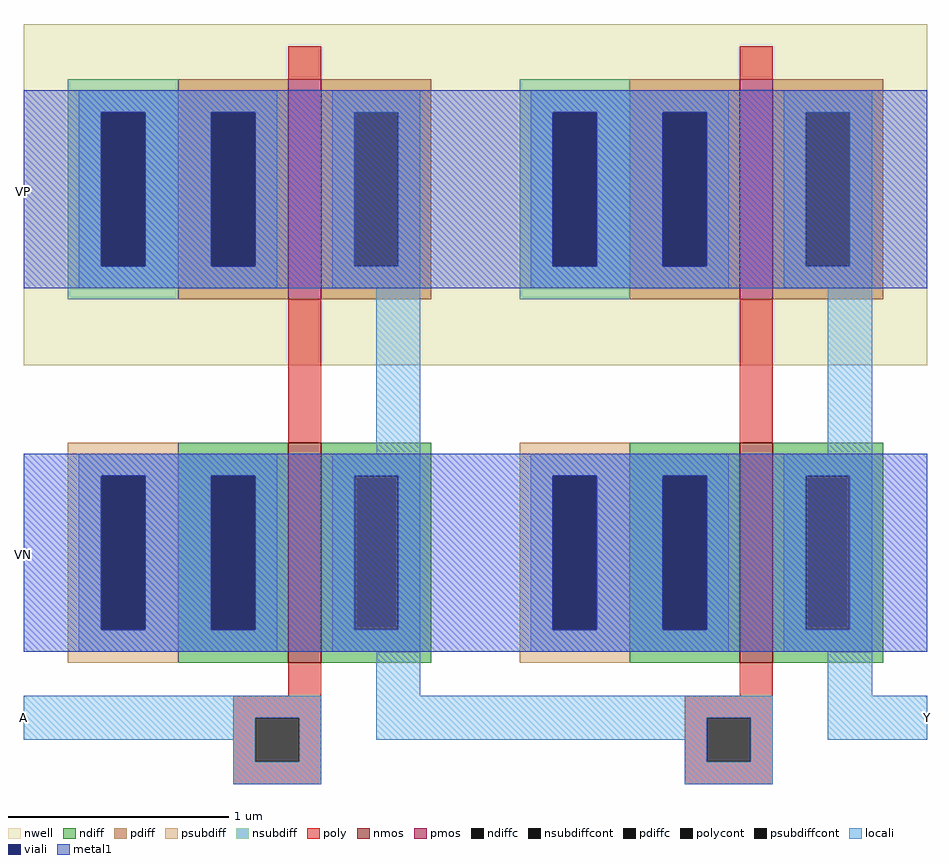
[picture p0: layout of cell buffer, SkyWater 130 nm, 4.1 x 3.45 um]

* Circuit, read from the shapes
.subckt buffer A VN VP Y
XM1 inverter_1/A A VN VN sky130_fd_pr__nfet_01v8 w=1 l=0.15
XM2 Y inverter_1/A VN VN sky130_fd_pr__nfet_01v8 w=1 l=0.15
XM3 inverter_1/A A VP VP sky130_fd_pr__pfet_01v8 w=1 l=0.15
XM4 Y inverter_1/A VP VP sky130_fd_pr__pfet_01v8 w=1 l=0.15
.ends

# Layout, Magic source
magic
tech sky130A
<< locali >>
rect -11 17 9 37
rect 379 17 399 37
<< metal1 >>
rect -11 222 14 312
rect -11 57 14 147
use inverter  inverter_1 ~/Desktop/madvlsi/MP1/layout
transform 1 0 319 0 1 57
box -125 -60 80 285
use inverter  inverter_0
transform 1 0 114 0 1 57
box -125 -60 80 285
<< labels >>
rlabel locali -11 27 -11 27 7 A
rlabel locali 399 27 399 27 3 Y
rlabel metal1 -11 266 -11 266 7 VP
rlabel metal1 -11 101 -11 101 7 VN
<< end >>

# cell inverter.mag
magic
tech sky130A
<< nwell >>
rect -125 130 80 285
<< nmos >>
rect -5 -5 10 95
<< pmos >>
rect -5 160 10 260
<< ndiff >>
rect -55 80 -5 95
rect -55 10 -40 80
rect -20 10 -5 80
rect -55 -5 -5 10
rect 10 80 60 95
rect 10 10 25 80
rect 45 10 60 80
rect 10 -5 60 10
<< pdiff >>
rect -55 245 -5 260
rect -55 175 -40 245
rect -20 175 -5 245
rect -55 160 -5 175
rect 10 245 60 260
rect 10 175 25 245
rect 45 175 60 245
rect 10 160 60 175
<< ndiffc >>
rect -40 10 -20 80
rect 25 10 45 80
<< pdiffc >>
rect -40 175 -20 245
rect 25 175 45 245
<< psubdiff >>
rect -105 80 -55 95
rect -105 10 -90 80
rect -70 10 -55 80
rect -105 -5 -55 10
<< nsubdiff >>
rect -105 245 -55 260
rect -105 175 -90 245
rect -70 175 -55 245
rect -105 160 -55 175
<< psubdiffcont >>
rect -90 10 -70 80
<< nsubdiffcont >>
rect -90 175 -70 245
<< poly >>
rect -5 260 10 275
rect -5 95 10 160
rect -5 -20 10 -5
rect -30 -30 10 -20
rect -30 -50 -20 -30
rect 0 -50 10 -30
rect -30 -60 10 -50
<< polycont >>
rect -20 -50 0 -30
<< locali >>
rect -100 245 -10 255
rect -100 175 -90 245
rect -70 175 -40 245
rect -20 175 -10 245
rect -100 165 -10 175
rect 15 245 55 255
rect 15 175 25 245
rect 45 175 55 245
rect 15 165 55 175
rect 35 90 55 165
rect -100 80 -10 90
rect -100 10 -90 80
rect -70 10 -40 80
rect -20 10 -10 80
rect -100 0 -10 10
rect 15 80 55 90
rect 15 10 25 80
rect 45 10 55 80
rect 15 0 55 10
rect 35 -20 55 0
rect -125 -30 10 -20
rect -125 -40 -20 -30
rect -30 -50 -20 -40
rect 0 -50 10 -30
rect 35 -40 80 -20
rect -30 -60 10 -50
<< viali >>
rect -90 175 -70 245
rect -40 175 -20 245
rect -90 10 -70 80
rect -40 10 -20 80
<< metal1 >>
rect -125 245 80 255
rect -125 175 -90 245
rect -70 175 -40 245
rect -20 175 80 245
rect -125 165 80 175
rect -125 80 80 90
rect -125 10 -90 80
rect -70 10 -40 80
rect -20 10 80 80
rect -125 0 80 10
<< labels >>
rlabel metal1 -125 45 -125 45 7 VN
port 4 w
rlabel locali -125 -30 -125 -30 7 A
port 1 w
rlabel locali 80 -31 80 -31 3 Y
port 2 e
rlabel metal1 -125 210 -125 210 7 VP
port 3 w
<< end >>
